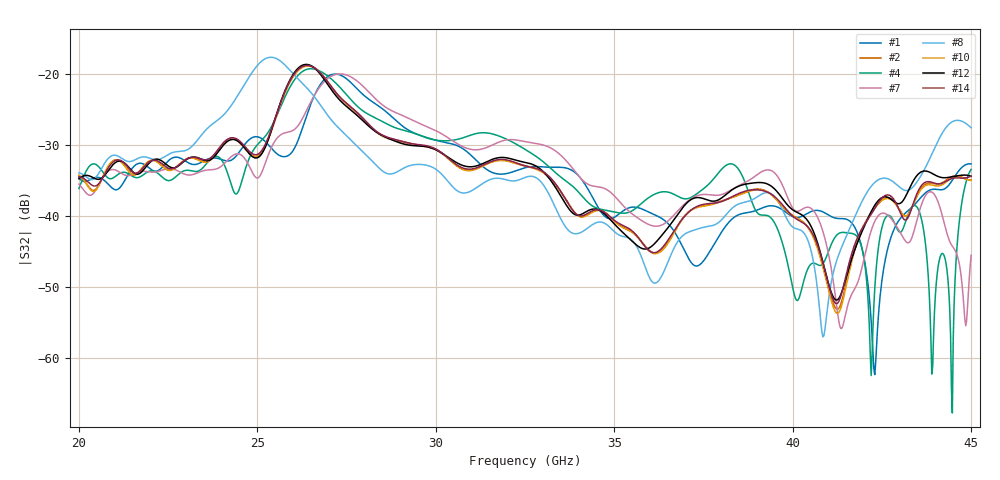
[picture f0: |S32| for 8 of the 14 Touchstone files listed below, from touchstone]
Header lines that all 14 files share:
! TOUCHSTONE file generated by CST MICROWAVE STUDIO
! Project name: Final_26GHz_linear.cst
! Header version: 2024
! Port assignment regex: !\s*Touchstone port\s*([0-9]+)\s*=\s*(CST MWS port|CST DES external port|CST DES block port)\s*(.+)\s* \(\"(.*)\"\)(\s*mode\s*([0-9]+))?.*
! Touchstone port assignment:
! Touchstone port 1 = CST MWS port 1 ("")
! Touchstone port 2 = CST MWS port 2 ("")
! Touchstone port 3 = CST MWS port 3 ("")
! Touchstone port 4 = CST MWS port 4 ("")
# GHz S MA R 50
Fixed: Connector_spacing = 15.33, Distance_inner = 4.78238, Distance_outer = 14.3471, L_pad = 5, Pad_via_diameter = 2.1, Pad_via_x_centre = 3.75, Pad_via_z_centre = 2.8, Patch_spacing = 5.76524, Via_diameter = 0.4, Via_spacing = 0.8, W_PCB = 70, W_pad = 6, c = 2.99792e+08, extra_distance_z = 30, f = 2.6e+10, k = 3.99, lambda_0 = 11.5305, t_copper = 0.012, t_substrate = 0.508
Also varied, not listed: z_Line, z_triangle_inner, z_triangle_outer
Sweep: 20 GHz to 45 GHz
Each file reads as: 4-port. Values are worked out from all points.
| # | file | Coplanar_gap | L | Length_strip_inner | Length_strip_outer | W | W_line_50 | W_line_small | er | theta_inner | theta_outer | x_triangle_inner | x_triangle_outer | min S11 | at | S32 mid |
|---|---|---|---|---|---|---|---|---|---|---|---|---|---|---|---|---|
| 1 | parameter-er_1.s4p | 0.425 | 2.6 | 24.3248 | 27.8328 | 2.6 | 1.15 | 0.1 | 3.4404 | 11.3385 | 31.0293 | 0.563778 | 0.49272 | -19.6 dB | 26.9 GHz | -33.2 dB at 32.5 GHz |
| 2 | parameter-er_2.s4p | 0.425 | 2.6 | 24.3248 | 27.8328 | 2.6 | 1.15 | 0.1 | 3.66 | 11.3385 | 31.0293 | 0.563778 | 0.49272 | -19.2 dB | 26.2 GHz | -32.9 dB at 32.5 GHz |
| 3 | parameter-er_3.s4p | 0.425 | 2.6 | 24.3248 | 27.8328 | 2.6 | 1.15 | 0.1 | 3.8796 | 11.3385 | 31.0293 | 0.563778 | 0.49272 | -18.8 dB | 25.55 GHz | -35.3 dB at 32.5 GHz |
| 4 | parameter-patchL-er6_4.s4p | 0.425 | 2.444 | 24.3248 | 27.8328 | 2.444 | 1.15 | 0.1 | 3.8796 | 11.3385 | 31.0293 | 0.563778 | 0.49272 | -21.6 dB | 26.27 GHz | -30.6 dB at 32.5 GHz |
| 5 | parameter-patchL-er6_5.s4p | 0.425 | 2.756 | 24.3248 | 27.8328 | 2.756 | 1.15 | 0.1 | 3.8796 | 11.3385 | 31.0293 | 0.563778 | 0.49272 | -43.7 dB | 24.32 GHz | -38.6 dB at 32.5 GHz |
| 6 | parameter-patchL_1.s4p | 0.425 | 2.6 | 24.3248 | 27.8328 | 2.6 | 1.15 | 0.1 | 3.66 | 11.3385 | 31.0293 | 0.563778 | 0.49272 | -19.2 dB | 26.2 GHz | -32.9 dB at 32.5 GHz |
| 7 | parameter-patchL_2.s4p | 0.425 | 2.444 | 24.3248 | 27.8328 | 2.444 | 1.15 | 0.1 | 3.66 | 11.3385 | 31.0293 | 0.563778 | 0.49272 | -23.6 dB | 26.98 GHz | -29.6 dB at 32.5 GHz |
| 8 | parameter-patchL_3.s4p | 0.425 | 2.756 | 24.3248 | 27.8328 | 2.756 | 1.15 | 0.1 | 3.66 | 11.3385 | 31.0293 | 0.563778 | 0.49272 | -29.4 dB | 24.98 GHz | -34.6 dB at 32.5 GHz |
| 9 | parameter-tand_1.s4p | 0.425 | 2.6 | 24.3248 | 27.8328 | 2.6 | 1.15 | 0.1 | 3.66 | 11.3385 | 31.0293 | 0.563778 | 0.49272 | -19.1 dB | 26.2 GHz | -32.9 dB at 32.5 GHz |
| 10 | parameter-tand_3.s4p | 0.425 | 2.6 | 24.3248 | 27.8328 | 2.6 | 1.15 | 0.1 | 3.66 | 11.3385 | 31.0293 | 0.563778 | 0.49272 | -19.4 dB | 26.2 GHz | -33.0 dB at 32.5 GHz |
| 11 | parameter-W50_2.s4p | 0.4595 | 2.6 | 24.3924 | 27.8919 | 2.6 | 1.081 | 0.1 | 3.66 | 11.3067 | 30.9563 | 0.53001 | 0.463511 | -17.3 dB | 26.18 GHz | -33.4 dB at 32.5 GHz |
| 12 | parameter-W50_3.s4p | 0.3905 | 2.6 | 24.2571 | 27.7737 | 2.6 | 1.219 | 0.1 | 3.66 | 11.3706 | 31.1027 | 0.597537 | 0.52188 | -22.4 dB | 26.2 GHz | -32.5 dB at 32.5 GHz |
| 13 | parameter-Wsmall_2.s4p | 0.425 | 2.6 | 24.3248 | 27.8328 | 2.6 | 1.15 | 0.094 | 3.66 | 11.3385 | 31.0293 | 0.563778 | 0.49272 | -20.3 dB | 26.2 GHz | -33.0 dB at 32.5 GHz |
| 14 | parameter-Wsmall_3.s4p | 0.425 | 2.6 | 24.3248 | 27.8328 | 2.6 | 1.15 | 0.106 | 3.66 | 11.3385 | 31.0293 | 0.563778 | 0.49272 | -18.4 dB | 26.2 GHz | -33.0 dB at 32.5 GHz |
